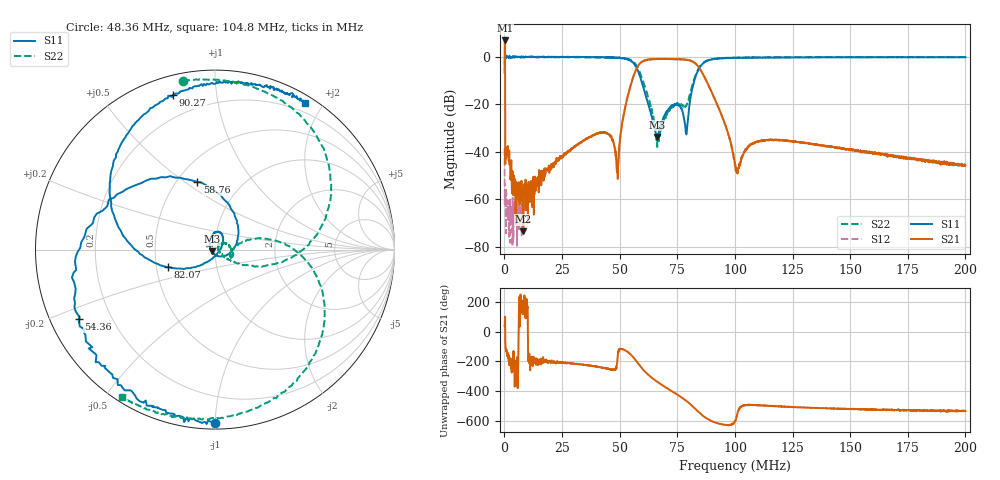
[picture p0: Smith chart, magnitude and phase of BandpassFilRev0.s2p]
! 19-Feb-26 1:08:38 PM
! E:\VNA_MEASUREMENTS\RECBLOCK\BANDPASSFILREV0.S2P
! CHANNEL.1
! TR.MEASUREMENT
! CORRECTED.DATA
# GHZ S RI R 50.0
! FREQ.GHZ  S11RE  S11IM  S21RE  S21IM  S12RE  S12IM  S22RE  S22IM
!; PortSelection: Port_12
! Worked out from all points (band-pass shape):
!   2000 points, 50 kHz to 200 MHz, reference 50 ohm
!   highest |S21| = 6.93 dB at 150 kHz (marker M1); lowest = -73.5 dB at 8.152 MHz (marker M2)
!   |S21| within 3 dB of the highest: 119.1 kHz to 247.3 kHz (128.2 kHz wide, 70 % of centre)
!   lowest |S11| = -33.8 dB at 66.37 MHz (marker M3), VSWR 1.04, Z = 48.2 - j0.964 ohm
!   |S11| at or under -10 dB: 59.36 MHz to 82.35 MHz (22.99 MHz wide, 32.4 % of centre)
!   |S22| runs from -37.9 to 0.1 dB; largest |S21 - S12| = 2.2
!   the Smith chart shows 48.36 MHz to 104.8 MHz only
!   S11 on the Smith chart (normalised r, x): 48.36 MHz: 0.04, -1.00; 54.36 MHz: 0.08, -0.24; 58.76 MHz: 0.63, +0.56; 82.07 MHz: 0.57, -0.12; 90.27 MHz: 0.09, +0.76; 104.8 MHz: 0.09, +1.79
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5e-05  0.4636 0.0777  0.5926 0.421  0.000338 0.0119  -1.012 -0.0267
0.000150025  -0.8745 -0.1581  0.7517 2.089  -0.000517 0.000609  -0.9937 0.00249
0.001350325  1.02 -0.0386  -0.00813 -0.00644  0.000165 -0.000933  -0.9969 0.0186
0.0032508  0.9948 -0.0235  -0.000661 0.00115  -0.000168 -0.000513  -0.9938 0.0499
0.008152026  1.012 -0.1269  -0.000193 8.52e-05  -0.000755 -0.000146  -0.9859 0.1293
0.03345835  0.7814 -0.6324  -0.0125 0.0105  -0.0119 0.0105  -0.7776 0.5994
0.04456113  0.3269 -0.9257  -0.00841 0.0231  -0.00907 0.0232  -0.4181 0.8712
0.04836208  -0.000767 -0.9639  -0.0042 0.0082  -0.00304 0.00749  -0.1783 0.9396
0.05436358  -0.7603 -0.3885  -0.1862 -0.1115  -0.185 -0.1128  0.4782 0.744
0.05876468  -0.098 0.3773  -0.4732 0.5527  -0.4717 0.5525  0.4682 -0.0161
0.06186546  0.1205 0.0338  0.1839 0.8451  0.1831 0.8487  0.1482 -0.0809
0.06636658  -0.0179 -0.00999  0.8317 0.3494  0.8326 0.3476  0.018 -0.00184
0.06676668  -0.0235 -0.000839  0.8593 0.283  0.8616 0.2861  0.0176 0.00656
0.07576893  0.0368 0.0864  0.3019 -0.8383  0.2953 -0.8402  0.0971 -0.0372
0.07886971  0.0206 -0.011  -0.2077 -0.8487  -0.2139 -0.8424  0.0921 -0.0103
0.08207051  -0.2643 -0.0978  -0.6458 -0.4268  -0.653 -0.4273  0.3098 0.0554
0.09027256  -0.2352 0.8606  -0.077 0.1465  -0.0764 0.1437  0.2722 -0.8608
0.100075  0.3708 0.8864  -0.00278 0.00498  -0.00289 0.00453  -0.3633 -0.8934
0.1047762  0.5027 0.8154  -0.00732 -0.00791  -0.00745 -0.0083  -0.5205 -0.8232
0.1333833  0.8448 0.4965  -0.0129 -0.00712  -0.013 -0.00694  -0.8808 -0.4471
0.1666917  0.9414 0.2933  -0.00812 -0.00222  -0.00802 -0.00218  -0.9671 -0.1975
0.2  0.9714 0.1681  -0.00519 -0.000583  -0.00523 -0.000611  -0.9896 -0.0378
